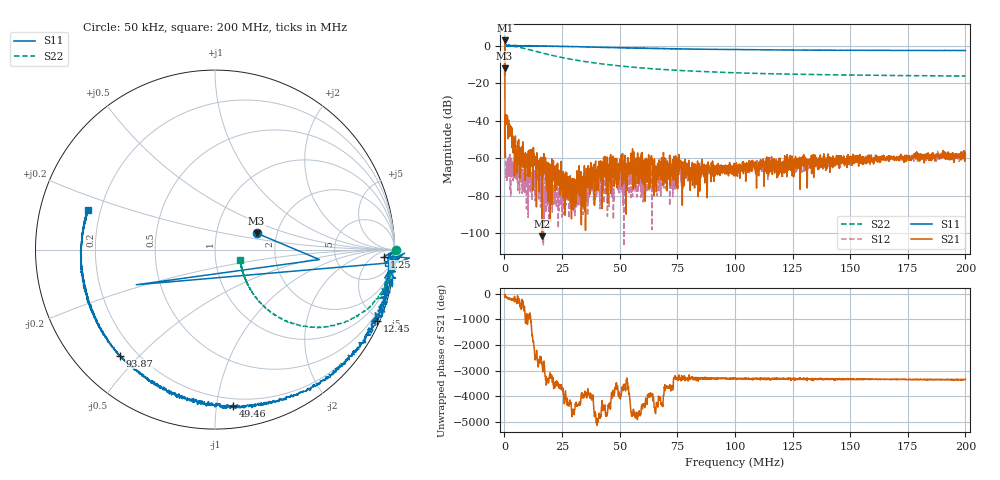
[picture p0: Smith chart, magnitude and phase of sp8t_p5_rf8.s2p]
! 26-Feb-26 12:23:12 PM
! E:\VNA_MEASUREMENTS\SP8T\SP8T_P5_RF8.S2P
! CHANNEL.1
! TR.MEASUREMENT
! CORRECTED.DATA
# GHZ S RI R 50.0
! FREQ.GHZ  S11RE  S11IM  S21RE  S21IM  S12RE  S12IM  S22RE  S22IM
!; PortSelection: Port_12
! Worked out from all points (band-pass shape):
!   2000 points, 50 kHz to 200 MHz, reference 50 ohm
!   highest |S21| = 2.76 dB at 150 kHz (marker M1); lowest = -101.8 dB at 16.25 MHz (marker M2)
!   |S21| within 3 dB of the highest: 133.5 kHz to 154.8 kHz (21.28 kHz wide, 14.8 % of centre)
!   lowest |S11| = -12.1 dB at 50 kHz (marker M3), VSWR 1.66, Z = 78.4 + j15.3 ohm
!   |S11| at or under -10 dB: start of sweep to 77.91 kHz
!   |S22| runs from -16.3 to 0.1 dB; largest |S21 - S12| = 1.4
!   S11 on the Smith chart (normalised r, x): 50 kHz: 1.57, +0.31; 1.25 MHz: 23, -16; 12.45 MHz: 0.16, -4.76; 49.46 MHz: 0.15, -1.11; 93.87 MHz: 0.14, -0.44; 200 MHz: 0.15, +0.15
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5e-05  0.2318 0.0916  0.1384 -0.0966  0.000456 -0.00675  1.006 0.000212
0.000150025  0.5822 -0.0554  -1.234 -0.6038  -0.000339 0.00139  1.008 -0.00411
0.0012503  0.9417 -0.039  -0.0128 -0.00418  -0.000314 -0.00073  0.9882 -0.0776
0.005951476  0.9605 -0.1604  -0.00112 0.00118  2.01e-05 -0.000375  0.8566 -0.3253
0.0124531  0.9033 -0.3967  5.9e-06 -0.00059  -0.00023 0.000245  0.5889 -0.4341
0.01625405  0.8359 -0.4854  -6.8e-06 -4.4e-06  0.000206 6.85e-05  0.4777 -0.4252
0.01915478  0.7839 -0.5592  -0.000295 0.000281  -3.1e-06 1.57e-05  0.4113 -0.4028
0.02305575  0.7071 -0.6484  -0.000418 0.000599  6.58e-05 -3.22e-05  0.3483 -0.372
0.0296574  0.5614 -0.7578  0.000125 8.1e-05  7.31e-05 7.18e-05  0.2781 -0.3204
0.03345835  0.4701 -0.7985  6.47e-05 6.58e-05  0.000146 4.63e-05  0.2518 -0.2956
0.0436609  0.2342 -0.8625  5.69e-05 -0.000531  0.00022 -0.000403  0.2082 -0.2404
0.04946236  0.1019 -0.87  0.000444 -0.000144  0.00023 -0.000207  0.1932 -0.2159
0.05376343  0.0201 -0.86  0.000793 -0.000411  0.000189 -0.000369  0.1853 -0.2002
0.05916478  -0.076 -0.8515  0.000928 -2.67e-05  8.99e-05 -1.11e-05  0.1767 -0.1836
0.06136533  -0.113 -0.8473  -0.000312 -0.000185  0.000373 -0.000143  0.1745 -0.1784
0.06356588  -0.1605 -0.8283  0.00084 0.000637  0.000345 -6.48e-05  0.1721 -0.1724
0.06676668  -0.2049 -0.8203  -0.000262 -9.55e-05  0.000297 4.85e-05  0.1685 -0.1647
0.09387346  -0.5282 -0.5909  0.000262 -0.000586  0.000301 -0.000512  0.1525 -0.1194
0.100075  -0.5776 -0.5364  3.13e-05 -0.000413  0.000247 -0.000419  0.1514 -0.113
0.1333833  -0.7193 -0.2439  -7.54e-05 -0.001  -6.4e-05 -0.000684  0.1461 -0.0862
0.1666917  -0.7464 0.00933  -0.000123 -0.00092  -0.00017 -0.000817  0.1437 -0.0711
0.2  -0.7073 0.2191  -0.000228 -0.00119  -0.000416 -0.000952  0.1419 -0.0597
